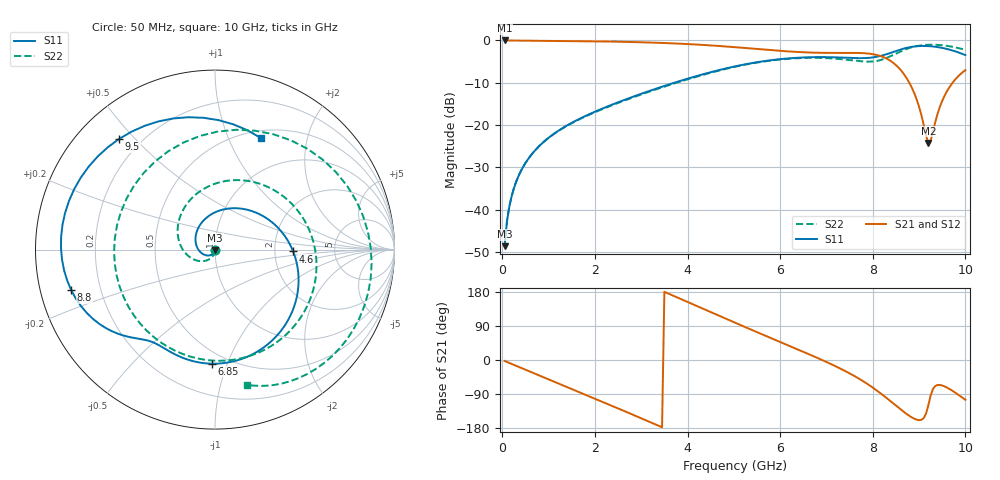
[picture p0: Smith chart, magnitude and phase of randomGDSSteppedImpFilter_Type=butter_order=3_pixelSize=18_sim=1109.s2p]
! freq	dB(S11)	phase(S11)	dB(S12)	phase(S12)
!  dB(S21)	phase(S21)	dB(S22)	phase(S22)
!S-par simulation data
#  GHz  S  DB  R 50
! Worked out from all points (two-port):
!   200 points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, 50 MHz to 10 GHz, reference 50 ohm
!   highest |S21| = -0.01 dB at 50 MHz (marker M1); lowest = -24.2 dB at 9.2 GHz (marker M2)
!   |S21| within 3 dB of the highest: start of sweep to 7.796 GHz
!   lowest |S11| = -48.6 dB at 50 MHz (marker M3), VSWR 1.01, Z = 50 - j0.371 ohm
!   |S11| at or under -10 dB: start of sweep to 3.713 GHz
!   |S22| runs from -48.6 to -1.0 dB; largest |S21 - S12| = 0
!   S11 on the Smith chart (normalised r, x): 50 MHz: 1.00, -0.01; 4.6 GHz: 2.54, -0.07; 6.85 GHz: 0.41, -0.88; 8.8 GHz: 0.09, -0.14; 9.5 GHz: 0.12, +0.45; 10 GHz: 0.59, +1.32
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0.05  -48.61 -88.5  -0.01 -2.6  -0.01 -2.6  -48.57 -86.7
0.2  -36.88 -102.6  -0.02 -10.2  -0.02 -10.2  -36.85 -95.7
0.5  -28.98 -124.4  -0.04 -25.4  -0.04 -25.4  -28.95 -107.3
1.15  -21.78 -169.1  -0.10 -58.4  -0.10 -58.4  -21.84 -130.1
1.75  -18.08 150.7  -0.17 -89.0  -0.17 -89.0  -18.19 -151.5
2.5  -14.61 103.5  -0.30 -127.7  -0.30 -127.7  -14.77 178.4
3.4  -11.10 54.1  -0.57 -174.8  -0.57 -174.8  -11.28 133.8
3.95  -9.20 27.6  -0.83 155.9  -0.83 155.9  -9.36 102.1
4.6  -7.22 -1.4  -1.25 121.1  -1.25 121.1  -7.35 62.1
5.05  -6.07 -20.5  -1.62 97.2  -1.62 97.2  -6.17 33.9
5.9  -4.54 -55.4  -2.38 52.7  -2.38 52.7  -4.62 -19.0
6.7  -3.95 -86.2  -2.88 11.1  -2.88 11.1  -4.11 -70.1
6.85  -3.93 -91.7  -2.92 3.1  -2.92 3.1  -4.12 -80.5
7.35  -4.06 -108.8  -2.94 -25.7  -2.94 -25.7  -4.46 -120.7
7.8  -4.18 -121.5  -3.01 -56.6  -3.01 -56.6  -4.97 -171.6
8.1  -3.83 -129.0  -3.47 -81.6  -3.47 -81.6  -4.81 141.7
8.35  -3.06 -137.3  -4.60 -105.4  -4.60 -105.4  -3.89 97.5
8.55  -2.31 -147.3  -6.35 -125.3  -6.35 -125.3  -2.85 63.3
8.8  -1.59 -164.3  -10.22 -148.2  -10.22 -148.2  -1.75 25.7
9.2  -1.34 161.5  -24.19 -119.3  -24.19 -119.3  -1.02 -20.6
9.5  -1.77 130.9  -14.26 -67.3  -14.26 -67.3  -1.14 -46.2
10  -3.46 67.5  -7.02 -105.1  -7.02 -105.1  -2.21 -76.5
